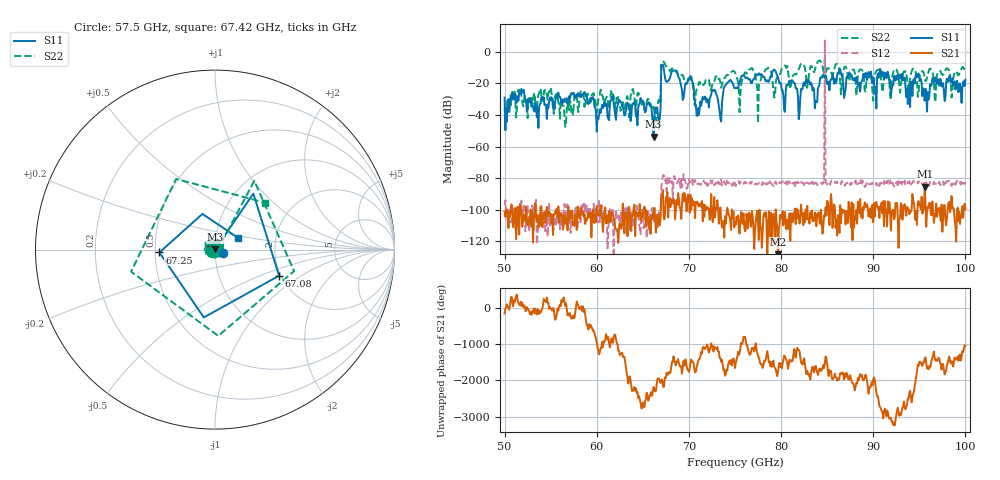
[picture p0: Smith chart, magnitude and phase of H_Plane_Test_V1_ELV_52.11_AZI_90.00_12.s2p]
! 11/27/2026 8:09:01 AM
! C:\ANRITSUVNA\TEMP\TEMP.S2P
! CHANNEL.1
! TR.MEASUREMENT
! RAW.DATA
# HZ S RI R 50.0
! FREQ.HZ  S11RE  S11IM  S21RE  S21IM  S12RE  S12IM  S22RE  S22IM
!; PortSelection: Port_12
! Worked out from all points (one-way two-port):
!   601 points, 50 GHz to 100 GHz, reference 50 ohm
!   highest |S21| = -85.41 dB at 95.58 GHz (marker M1); lowest = -133.0 dB at 79.67 GHz (marker M2)
!   lowest |S11| = -53.8 dB at 66.17 GHz (marker M3), VSWR 1.00, Z = 50.1 + j0.159 ohm
!   |S11| at or under -10 dB: start of sweep to 67 GHz; 67.24 GHz to end of sweep
!   |S22| runs from -47.6 to -4.7 dB; largest |S21 - S12| = 2.2
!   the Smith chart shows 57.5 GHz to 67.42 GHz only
!   S11 on the Smith chart (normalised r, x): 57.5 GHz: 1.09, -0.04; 67.08 GHz: 1.96, -0.67; 67.25 GHz: 0.53, -0.02; 67.42 GHz: 1.29, +0.17
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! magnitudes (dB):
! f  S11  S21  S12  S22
! 50 GHz  -29.0  -101.4  -97.0  -35.7
! 57.5 GHz  -26.1  -107.7  -106.1  -34.4
! 58.42 GHz  -27.1  -101.9  -99.1  -24.7
! 60.17 GHz  -42.8  -103.4  -108.0  -30.2
! 66.17 GHz  -53.8  -105.3  -105.6  -33.9
! 66.67 GHz  -41.7  -102.6  -107.8  -31.6
! 67.08 GHz  -8.3  -91.1  -82.4  -6.8
! 67.25 GHz  -10.2  -102.4  -78.0  -6.3
! 67.42 GHz  -16.8  -102.2  -81.5  -8.4
! 70.25 GHz  -16.0  -99.8  -80.7  -18.8
! 70.92 GHz  -40.7  -94.8  -83.7  -22.9
! 75 GHz  -23.1  -107.8  -83.5  -13.0
! 79.67 GHz  -16.3  -133.0  -82.8  -15.3
! 80.25 GHz  -27.9  -109.9  -82.9  -9.3
! 83.42 GHz  -24.6  -107.1  -82.1  -10.9
! 84.42 GHz  -16.5  -109.4  -83.3  -7.5
! 84.5 GHz  -15.1  -115.0  -83.9  -9.3
! 85 GHz  -20.7  -94.2  -84.0  -11.0
! 85.08 GHz  -18.9  -95.3  -82.7  -10.4
! 91.67 GHz  -16.7  -102.2  -81.4  -15.3
! 95.58 GHz  -31.1  -85.4  -82.8  -16.5
! 100 GHz  -17.8  -99.5  -82.3  -12.6
